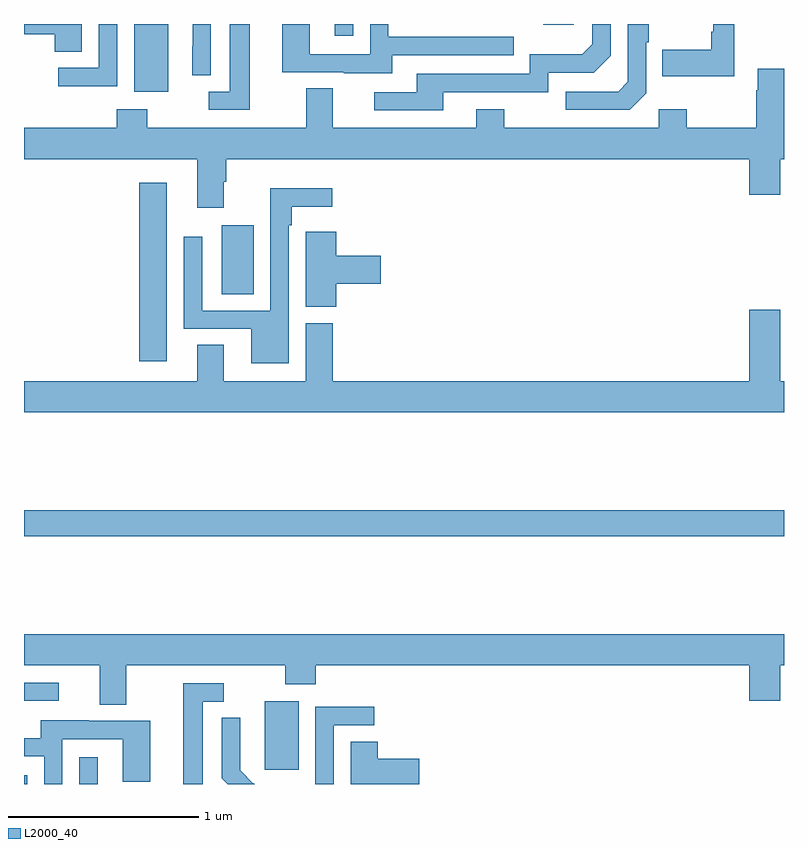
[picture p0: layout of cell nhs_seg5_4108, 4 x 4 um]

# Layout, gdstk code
import gdstk
lib = gdstk.Library(unit=1e-6, precision=1e-09)
def R(c, l, rs):  # rectangles x0, y0, x1, y1
    for r in rs: c.add(gdstk.rectangle(r[:2], r[2:], *l))
def P(c, l, *ps):  # polygons
    for p in ps: c.add(gdstk.Polygon(p, *l))
L2000_40 = (2000, 40)

nhs_seg5_4108 = lib.new_cell('nhs_seg5_4108')
R(nhs_seg5_4108, L2000_40, [(353,858.799,353.016,858.846), (353.292,858.799,353.389,858.94), (354.266,858.873,354.445,859.234), (353,859.236,353.182,859.332), (353,860.104,357,860.24), (353.606,861.024,353.752,861.964), (354.041,861.376,354.208,861.739), (353.579,862.442,353.758,862.799), (354.635,862.737,354.732,862.799), (355.733,862.796,355.894,862.799)])
P(nhs_seg5_4108, L2000_40, [(353.305,862.799),(353,862.799),(353,862.745),(353.162,862.745),(353.162,862.654),(353.305,862.654)],
  [(354.937,862.635),(355.577,862.635),(355.577,862.731),(354.918,862.731),(354.918,862.799),(354.822,862.799),(354.822,862.641),(354.504,862.641),(354.504,862.799),(354.359,862.799),(354.359,862.545),(354.683,862.545),(354.683,862.541),(354.937,862.541)],
  [(356.737,862.799),(356.628,862.799),(356.628,862.759),(356.616,862.759),(356.616,862.663),(356.359,862.663),(356.359,862.523),(356.737,862.523)],
  [(355.207,862.44),(355.758,862.44),(355.758,862.542),(355.998,862.542),(356.088,862.632),(356.088,862.799),(355.992,862.799),(355.992,862.692),(355.939,862.639),(355.662,862.639),(355.662,862.536),(355.067,862.536),(355.067,862.44),(354.843,862.44),(354.843,862.344),(355.207,862.344)],
  [(356.274,862.434),(356.274,862.703),(356.287,862.703),(356.287,862.799),(356.178,862.799),(356.178,862.494),(356.127,862.443),(355.851,862.443),(355.851,862.347),(356.187,862.347)],
  [(354.187,862.799),(354.083,862.799),(354.083,862.443),(353.973,862.443),(353.973,862.347),(354.187,862.347)],
  [(353.982,862.799),(353.888,862.799),(353.888,862.682),(353.886,862.682),(353.886,862.528),(353.982,862.528)],
  [(353.49,862.799),(353.394,862.799),(353.394,862.569),(353.181,862.569),(353.181,862.471),(353.49,862.471)],
  [(353.489,862.351),(353.489,862.252),(353,862.252),(353,862.088),(353.912,862.088),(353.912,861.831),(354.052,861.831),(354.052,861.968),(354.065,861.968),(354.065,862.088),(356.816,862.088),(356.816,861.9),(356.98,861.9),(356.98,862.088),(357,862.088),(357,862.564),(356.861,862.564),(356.861,862.451),(356.854,862.451),(356.854,862.252),(356.487,862.252),(356.487,862.351),(356.34,862.351),(356.34,862.252),(355.527,862.252),(355.527,862.351),(355.379,862.351),(355.379,862.252),(354.625,862.252),(354.625,862.46),(354.485,862.46),(354.485,862.252),(353.649,862.252),(353.649,862.351)],
  [(354.393,861.74),(354.409,861.74),(354.409,861.836),(354.622,861.836),(354.622,861.934),(354.297,861.934),(354.297,861.291),(353.937,861.291),(353.937,861.679),(353.841,861.679),(353.841,861.195),(354.197,861.195),(354.197,861.014),(354.393,861.014)],
  [(354.644,861.431),(354.877,861.431),(354.877,861.578),(354.644,861.578),(354.644,861.706),(354.483,861.706),(354.483,861.593),(354.482,861.593),(354.482,861.31),(354.644,861.31)],
  [(357,860.92),(356.98,860.92),(356.98,861.295),(356.816,861.295),(356.816,860.92),(354.626,860.92),(354.626,861.225),(354.482,861.225),(354.482,860.92),(354.052,860.92),(354.052,861.11),(353.912,861.11),(353.912,860.92),(353,860.92),(353,860.756),(357,860.756)],
  [(353.539,859.424),(354.376,859.424),(354.376,859.325),(354.536,859.325),(354.536,859.424),(356.816,859.424),(356.816,859.236),(356.98,859.236),(356.98,859.424),(357,859.424),(357,859.588),(353,859.588),(353,859.424),(353.399,859.424),(353.399,859.216),(353.539,859.216)],
  [(353.941,859.233),(354.052,859.233),(354.052,859.329),(353.837,859.329),(353.837,858.799),(353.941,858.799)],
  [(354.63,859.107),(354.844,859.107),(354.844,859.206),(354.534,859.206),(354.534,858.799),(354.63,858.799)],
  [(354.21,858.804),(354.207,858.801),(354.137,858.872),(354.137,858.994),(354.138,858.994),(354.138,859.148),(354.042,859.148),(354.042,858.83),(354.073,858.799),(354.215,858.799)],
  [(353.202,859.035),(353.52,859.035),(353.52,858.811),(353.665,858.811),(353.665,859.131),(353.341,859.131),(353.341,859.135),(353.087,859.135),(353.087,859.041),(353,859.041),(353,858.945),(353.106,858.945),(353.106,858.799),(353.202,858.799)],
  [(355.081,858.932),(354.863,858.932),(354.863,859.022),(354.719,859.022),(354.719,858.799),(355.081,858.799)])

lib.write_gds('nhs_seg5_4108.gds')
